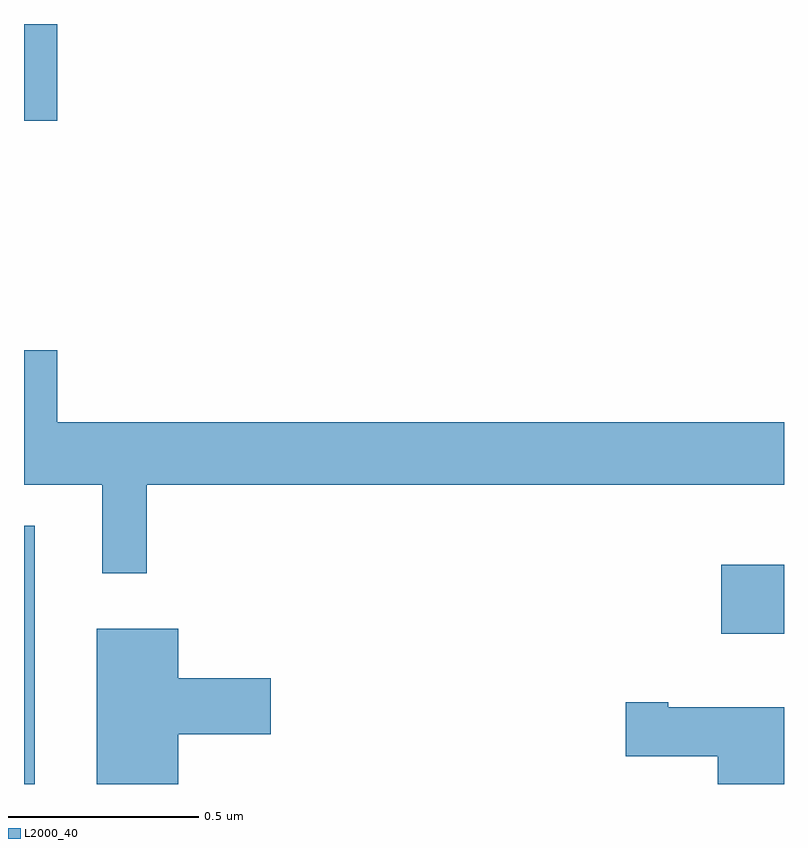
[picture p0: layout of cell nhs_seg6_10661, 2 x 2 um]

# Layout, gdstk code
import gdstk
lib = gdstk.Library(unit=1e-6, precision=1e-09)
def R(c, l, rs):  # rectangles x0, y0, x1, y1
    for r in rs: c.add(gdstk.rectangle(r[:2], r[2:], *l))
def P(c, l, *ps):  # polygons
    for p in ps: c.add(gdstk.Polygon(p, *l))
L2000_40 = (2000, 40)

nhs_seg6_10661 = lib.new_cell('nhs_seg6_10661')
R(nhs_seg6_10661, L2000_40, [(249,994.5,249.028,995.179), (250.835,994.895,251,995.077), (249,996.246,249.088,996.5)])
P(nhs_seg6_10661, L2000_40, [(249.323,995.288),(251,995.288),(251,995.452),(249.088,995.452),(249.088,995.641),(249,995.641),(249,995.288),(249.206,995.288),(249.206,995.055),(249.323,995.055)],
  [(249.406,994.631),(249.649,994.631),(249.649,994.778),(249.406,994.778),(249.406,994.909),(249.191,994.909),(249.191,994.5),(249.406,994.5)],
  [(251,994.702),(250.696,994.702),(250.696,994.715),(250.584,994.715),(250.584,994.573),(250.826,994.573),(250.826,994.5),(251,994.5)])

lib.write_gds('nhs_seg6_10661.gds')
